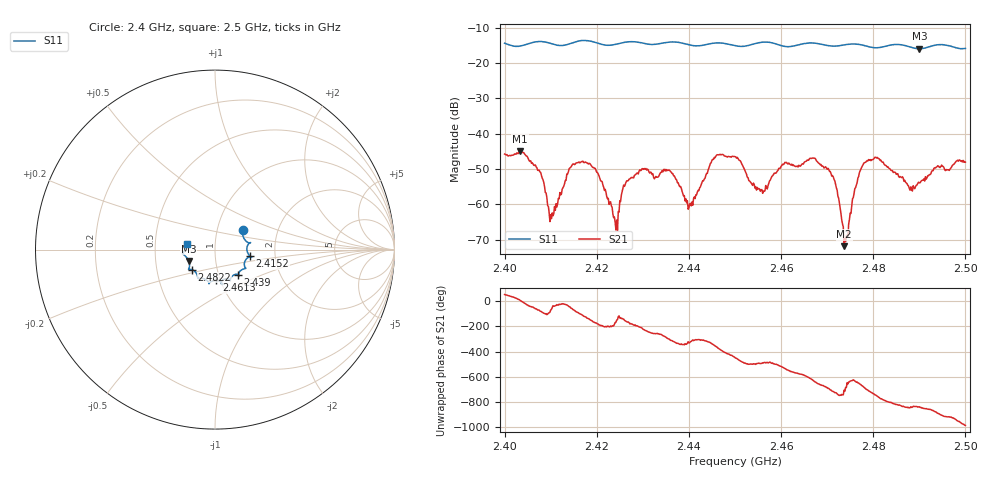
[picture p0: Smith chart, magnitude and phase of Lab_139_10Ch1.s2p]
# Hz S RI R 50
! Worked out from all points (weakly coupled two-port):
!   601 points, 2.4 GHz to 2.5 GHz, reference 50 ohm
!   highest |S21| = -44.92 dB at 2.4033 GHz (marker M1); lowest = -71.9 dB at 2.4737 GHz (marker M2)
!   lowest |S11| = -15.9 dB at 2.49 GHz (marker M3), VSWR 1.38, Z = 37 - j4.81 ohm
!   |S11| at or under -10 dB: start of sweep to end of sweep
!   S12 and S22 are empty: the file has one direction only
!   S11 on the Smith chart (normalised r, x): 2.4 GHz: 1.33, +0.31; 2.4152 GHz: 1.48, -0.11; 2.439 GHz: 1.24, -0.36; 2.4613 GHz: 0.96, -0.34; 2.4822 GHz: 0.76, -0.17; 2.5 GHz: 0.73, +0.05
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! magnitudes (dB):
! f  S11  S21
! 2.4 GHz  -14.4  -45.8
! 2.4033 GHz  -15.2  -44.9
! 2.4078 GHz  -13.9  -51.0
! 2.4102 GHz  -14.5  -64.1
! 2.4152 GHz  -14.1  -48.8
! 2.4167 GHz  -13.6  -47.9
! 2.42 GHz  -14.3  -50.9
! 2.424 GHz  -14.7  -65.2
! 2.4268 GHz  -14.0  -53.3
! 2.4333 GHz  -14.5  -52.2
! 2.439 GHz  -14.5  -57.5
! 2.45 GHz  -15.0  -46.5
! 2.456 GHz  -14.1  -56.9
! 2.4613 GHz  -15.3  -48.4
! 2.4667 GHz  -14.3  -47.0
! 2.4712 GHz  -15.2  -51.8
! 2.4737 GHz  -14.8  -71.9
! 2.4777 GHz  -14.9  -49.1
! 2.4822 GHz  -15.4  -48.1
! 2.4833 GHz  -15.0  -49.7
! 2.49 GHz  -15.9  -53.9
! 2.5 GHz  -15.8  -48.0
